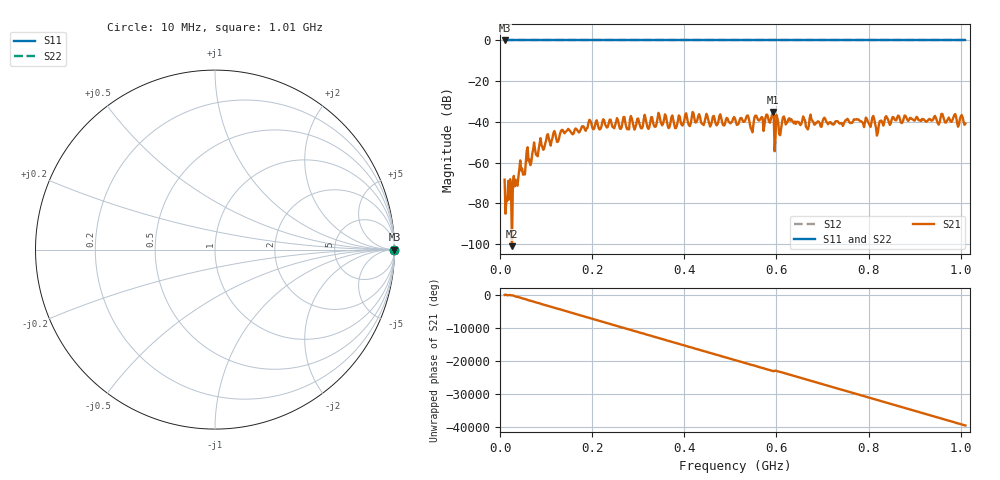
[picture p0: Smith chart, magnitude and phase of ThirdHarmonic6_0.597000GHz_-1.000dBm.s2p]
! 8/15/2025 7:27:22 PM
! C:\ANRITSUVNA\TEMP\TEMP.S2P
! CHANNEL.1
! TR.MEASUREMENT
! RAW.DATA
! RF.CORRECTION.OFF
! AVERAGING.OFF
! IF.BANDWIDTH: 5KHZ
! SWEEPTYPE:  FREQ.SWEEP(Linear)
! Reference Plane Port Info
! PORT:  PORT1  PORT2
! DISTANCE:  0  m  0  m
! TIME:  0  s  0  s
! PHASE.OFFSET:  0  deg.  0  deg.
! LOSS:  0  dB  0  dB
! REF.LOSS:  0  dB  0  dB
! REF.FREQ:  0  Hz  0  Hz
! Power Info
! POWER:  -20  dBm  -20  dBm
! EFF.POWER:  -20  dBm  -20  dBm
! SOURCE.ATTEN:  0  dB  0  dB
! TEST.ATTEN:  0  dB  0  dB
# GHZ S RI R 50.0
! FREQ.GHZ  S11RE  S11IM  S21RE  S21IM  S12RE  S12IM  S22RE  S22IM
!; PortSelection: Port_12
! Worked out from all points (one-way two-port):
!   501 points, 10 MHz to 1.01 GHz, reference 50 ohm
!   highest |S21| = -35.10 dB at 592 MHz (marker M1); lowest = -101.0 dB at 26 MHz (marker M2)
!   lowest |S11| = 0.0 dB at 10 MHz (marker M3)
!   |S11| at or under -10 dB: nowhere
!   |S22| runs from 0.0 to 0.0 dB; largest |S21 - S12| = 1
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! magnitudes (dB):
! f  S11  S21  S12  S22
! 10 MHz  0.0  -68.3  0.0  0.0
! 16 MHz  0.0  -78.6  0.0  0.0
! 26 MHz  0.0  -101.0  0.0  0.0
! 44 MHz  0.0  -58.9  0.0  0.0
! 52 MHz  0.0  -65.4  0.0  0.0
! 60 MHz  0.0  -52.4  0.0  0.0
! 66 MHz  0.0  -61.2  0.0  0.0
! 102 MHz  0.0  -46.6  0.0  0.0
! 178 MHz  0.0  -42.2  0.0  0.0
! 322 MHz  0.0  -43.4  0.0  0.0
! 344 MHz  0.0  -35.5  0.0  0.0
! 382 MHz  0.0  -43.0  0.0  0.0
! 420 MHz  0.0  -35.8  0.0  0.0
! 510 MHz  0.0  -38.3  0.0  0.0
! 592 MHz  0.0  -35.1  0.0  0.0
! 608 MHz  0.0  -46.5  0.0  0.0
! 616 MHz  0.0  -37.3  0.0  0.0
! 678 MHz  0.0  -39.5  0.0  0.0
! 810 MHz  0.0  -37.0  0.0  0.0
! 818 MHz  0.0  -46.7  0.0  0.0
! 844 MHz  0.0  -40.1  0.0  0.0
! 1.01 GHz  0.0  -40.9  0.0  0.0
